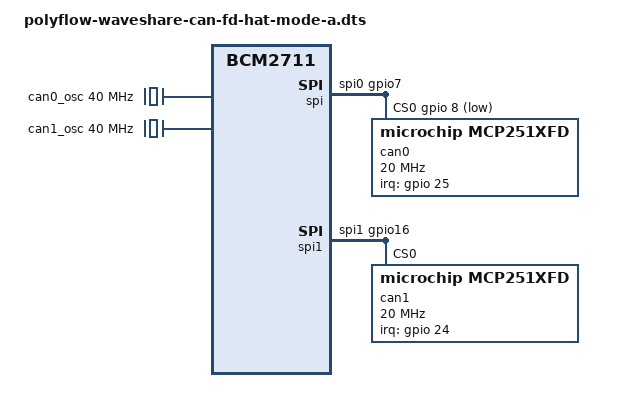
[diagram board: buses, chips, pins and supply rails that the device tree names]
/dts-v1/;
/plugin/;

/ {
    compatible = "raspberrypi,4-model-b", "brcm,bcm2711";

    /*
     * CAN0: MCP2518FD on SPI0.0, interrupt on GPIO25
     * CAN1: MCP2518FD on SPI1.0, interrupt on GPIO24
     *
     * Mode A per Waveshare docs:
     *  - can0 on spi0.0
     *  - can1 on spi1.0
     */

    /* SPI0 + CAN0 ------------------------------------------------------ */
    fragment@0 {
        target = <&spi>;
        __overlay__ {
            status = "okay";

            #address-cells = <1>;
            #size-cells    = <0>;

            /* Wire up MOSI/MISO/SCLK/CE0/CE1 */
            pinctrl-names = "default";
            pinctrl-0     = <&spi0_gpio7>;

            /* Explicit chip selects: CE0 on GPIO8, CE1 on GPIO7 */
            cs-gpios = <&gpio 8 1  &gpio 7 1>;

            can0: mcp251xfd@0 {
                compatible = "microchip,mcp251xfd";
                reg = <0>;
                spi-max-frequency = <20000000>;

                clocks = <&can0_osc>;
                clock-names = "osc";

                /* IRQ on GPIO25 */
                interrupt-parent = <&gpio>;
                interrupts = <25 2>;

                pinctrl-names = "default";
                pinctrl-0     = <&can0_int_pins>;
            };
        };
    };

    /* SPI1 + CAN1 ------------------------------------------------------ */
    fragment@1 {
        target = <&spi1>;
        __overlay__ {
            status = "okay";

            #address-cells = <1>;
            #size-cells    = <0>;

            /* Use existing aux SPI1 pinmux group */
            pinctrl-names = "default";
            pinctrl-0     = <&spi1_gpio16>;

            /*
             * CAN1 controller on SPI1 chip select 0
             */
            can1: mcp251xfd@0 {
                compatible = "microchip,mcp251xfd";
                reg = <0>;

                spi-max-frequency = <20000000>;

                clocks = <&can1_osc>;
                clock-names = "osc";

                /* Interrupt on GPIO24 (board pin 18) */
                interrupt-parent = <&gpio>;
                interrupts = <24 2>;

                pinctrl-names = "default";
                pinctrl-0     = <&can1_int_pins>;
            };
        };
    };

    /* GPIO pin configuration for the interrupt lines ------------------- */
    fragment@2 {
        target = <&gpio>;
        __overlay__ {

            can0_int_pins: can0_int_pins {
                brcm,pins     = <25>;
                brcm,function = <0>;  /* input */
                brcm,pull     = <0>;  /* no pull */
            };

            can1_int_pins: can1_int_pins {
                brcm,pins     = <24>;
                brcm,function = <0>;  /* input */
                brcm,pull     = <0>;  /* no pull */
            };
        };
    };

    /* Fixed-clock nodes for the MCP2518FD oscillators ------------------ */
    fragment@3 {
        target-path = "/";
        __overlay__ {

            can0_osc: can0_osc {
                compatible = "fixed-clock";
                #clock-cells = <0>;
                clock-frequency = <40000000>; /* adjust if your HAT uses a different crystal */
            };

            can1_osc: can1_osc {
                compatible = "fixed-clock";
                #clock-cells = <0>;
                clock-frequency = <40000000>;
            };
        };
    };
};
